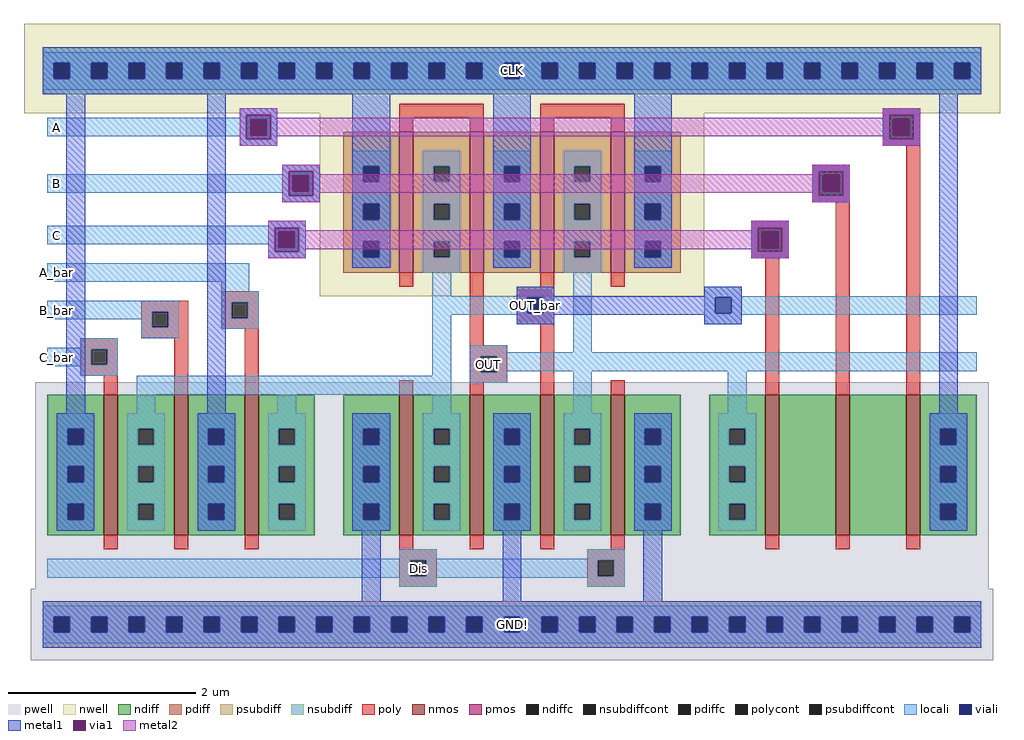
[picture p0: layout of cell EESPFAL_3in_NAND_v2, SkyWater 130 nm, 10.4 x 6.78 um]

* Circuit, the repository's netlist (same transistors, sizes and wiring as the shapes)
* NGSPICE file created from EESPFAL_3in_NAND_v2.ext - technology: sky130A

.subckt EESPFAL_3in_NAND_v2 OUT A A_bar B B_bar C C_bar Dis OUT_bar GND CLK
X0 OUT OUT_bar CLK CLK sky130_fd_pr__pfet_01v8 ad=9e+11p pd=4.2e+06u as=2.7e+12p ps=1.26e+07u w=1.5e+06u l=150000u M=2
X1 CLK OUT OUT_bar CLK sky130_fd_pr__pfet_01v8 ad=0p pd=0u as=9e+11p ps=4.2e+06u w=1.5e+06u l=150000u M=2
X2 a_n910_640# B a_n1060_640# GND sky130_fd_pr__nfet_01v8 ad=9e+11p pd=4.2e+06u as=9e+11p ps=4.2e+06u w=1.5e+06u l=150000u
X3 GND OUT OUT_bar GND sky130_fd_pr__nfet_01v8 ad=2.7e+12p pd=1.26e+07u as=2.7e+12p ps=1.26e+07u w=1.5e+06u l=150000u
X4 CLK B_bar OUT_bar GND sky130_fd_pr__nfet_01v8 ad=7.7e+12p pd=3.36e+07u as=0p ps=0u w=1.5e+06u l=150000u
X5 CLK A a_n910_640# GND sky130_fd_pr__nfet_01v8 ad=0p pd=0u as=0p ps=0u w=1.5e+06u l=150000u
X6 OUT OUT_bar GND GND sky130_fd_pr__nfet_01v8 ad=1.8e+12p pd=8.4e+06u as=0p ps=0u w=1.5e+06u l=150000u
X7 a_n1060_640# C OUT GND sky130_fd_pr__nfet_01v8 ad=0p pd=0u as=0p ps=0u w=1.5e+06u l=150000u
X8 OUT_bar Dis GND GND sky130_fd_pr__nfet_01v8 ad=0p pd=0u as=0p ps=0u w=1.5e+06u l=150000u
X9 OUT_bar A_bar CLK GND sky130_fd_pr__nfet_01v8 ad=0p pd=0u as=0p ps=0u w=1.5e+06u l=150000u
X10 OUT_bar C_bar CLK GND sky130_fd_pr__nfet_01v8 ad=0p pd=0u as=0p ps=0u w=1.5e+06u l=150000u
X11 GND Dis OUT GND sky130_fd_pr__nfet_01v8 ad=0p pd=0u as=0p ps=0u w=1.5e+06u l=150000u
.ends

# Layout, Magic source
magic
tech sky130A
magscale 1 2
<< nwell >>
rect -2670 1540 -590 1730
rect -2040 1150 -1220 1540
<< pwell >>
rect -2646 526 -614 966
rect -2656 374 -604 526
<< nmos >>
rect -2500 640 -2470 940
rect -2350 640 -2320 940
rect -2200 640 -2170 940
rect -1870 640 -1840 940
rect -1720 640 -1690 940
rect -1570 640 -1540 940
rect -1420 640 -1390 940
rect -1090 640 -1060 940
rect -940 640 -910 940
rect -790 640 -760 940
<< pmos >>
rect -1870 1200 -1840 1500
rect -1720 1200 -1690 1500
rect -1570 1200 -1540 1500
rect -1420 1200 -1390 1500
<< ndiff >>
rect -2620 867 -2500 940
rect -2620 833 -2577 867
rect -2543 833 -2500 867
rect -2620 787 -2500 833
rect -2620 753 -2577 787
rect -2543 753 -2500 787
rect -2620 707 -2500 753
rect -2620 673 -2577 707
rect -2543 673 -2500 707
rect -2620 640 -2500 673
rect -2470 867 -2350 940
rect -2470 833 -2427 867
rect -2393 833 -2350 867
rect -2470 787 -2350 833
rect -2470 753 -2427 787
rect -2393 753 -2350 787
rect -2470 707 -2350 753
rect -2470 673 -2427 707
rect -2393 673 -2350 707
rect -2470 640 -2350 673
rect -2320 867 -2200 940
rect -2320 833 -2277 867
rect -2243 833 -2200 867
rect -2320 787 -2200 833
rect -2320 753 -2277 787
rect -2243 753 -2200 787
rect -2320 707 -2200 753
rect -2320 673 -2277 707
rect -2243 673 -2200 707
rect -2320 640 -2200 673
rect -2170 867 -2050 940
rect -2170 833 -2127 867
rect -2093 833 -2050 867
rect -2170 787 -2050 833
rect -2170 753 -2127 787
rect -2093 753 -2050 787
rect -2170 707 -2050 753
rect -2170 673 -2127 707
rect -2093 673 -2050 707
rect -2170 640 -2050 673
rect -1990 867 -1870 940
rect -1990 833 -1947 867
rect -1913 833 -1870 867
rect -1990 787 -1870 833
rect -1990 753 -1947 787
rect -1913 753 -1870 787
rect -1990 707 -1870 753
rect -1990 673 -1947 707
rect -1913 673 -1870 707
rect -1990 640 -1870 673
rect -1840 867 -1720 940
rect -1840 833 -1797 867
rect -1763 833 -1720 867
rect -1840 787 -1720 833
rect -1840 753 -1797 787
rect -1763 753 -1720 787
rect -1840 707 -1720 753
rect -1840 673 -1797 707
rect -1763 673 -1720 707
rect -1840 640 -1720 673
rect -1690 867 -1570 940
rect -1690 833 -1647 867
rect -1613 833 -1570 867
rect -1690 787 -1570 833
rect -1690 753 -1647 787
rect -1613 753 -1570 787
rect -1690 707 -1570 753
rect -1690 673 -1647 707
rect -1613 673 -1570 707
rect -1690 640 -1570 673
rect -1540 867 -1420 940
rect -1540 833 -1497 867
rect -1463 833 -1420 867
rect -1540 787 -1420 833
rect -1540 753 -1497 787
rect -1463 753 -1420 787
rect -1540 707 -1420 753
rect -1540 673 -1497 707
rect -1463 673 -1420 707
rect -1540 640 -1420 673
rect -1390 867 -1270 940
rect -1390 833 -1347 867
rect -1313 833 -1270 867
rect -1390 787 -1270 833
rect -1390 753 -1347 787
rect -1313 753 -1270 787
rect -1390 707 -1270 753
rect -1390 673 -1347 707
rect -1313 673 -1270 707
rect -1390 640 -1270 673
rect -1210 867 -1090 940
rect -1210 833 -1167 867
rect -1133 833 -1090 867
rect -1210 787 -1090 833
rect -1210 753 -1167 787
rect -1133 753 -1090 787
rect -1210 707 -1090 753
rect -1210 673 -1167 707
rect -1133 673 -1090 707
rect -1210 640 -1090 673
rect -1060 640 -940 940
rect -910 640 -790 940
rect -760 867 -640 940
rect -760 833 -717 867
rect -683 833 -640 867
rect -760 787 -640 833
rect -760 753 -717 787
rect -683 753 -640 787
rect -760 707 -640 753
rect -760 673 -717 707
rect -683 673 -640 707
rect -760 640 -640 673
<< pdiff >>
rect -1990 1427 -1870 1500
rect -1990 1393 -1947 1427
rect -1913 1393 -1870 1427
rect -1990 1347 -1870 1393
rect -1990 1313 -1947 1347
rect -1913 1313 -1870 1347
rect -1990 1267 -1870 1313
rect -1990 1233 -1947 1267
rect -1913 1233 -1870 1267
rect -1990 1200 -1870 1233
rect -1840 1427 -1720 1500
rect -1840 1393 -1797 1427
rect -1763 1393 -1720 1427
rect -1840 1347 -1720 1393
rect -1840 1313 -1797 1347
rect -1763 1313 -1720 1347
rect -1840 1267 -1720 1313
rect -1840 1233 -1797 1267
rect -1763 1233 -1720 1267
rect -1840 1200 -1720 1233
rect -1690 1427 -1570 1500
rect -1690 1393 -1647 1427
rect -1613 1393 -1570 1427
rect -1690 1347 -1570 1393
rect -1690 1313 -1647 1347
rect -1613 1313 -1570 1347
rect -1690 1267 -1570 1313
rect -1690 1233 -1647 1267
rect -1613 1233 -1570 1267
rect -1690 1200 -1570 1233
rect -1540 1427 -1420 1500
rect -1540 1393 -1497 1427
rect -1463 1393 -1420 1427
rect -1540 1347 -1420 1393
rect -1540 1313 -1497 1347
rect -1463 1313 -1420 1347
rect -1540 1267 -1420 1313
rect -1540 1233 -1497 1267
rect -1463 1233 -1420 1267
rect -1540 1200 -1420 1233
rect -1390 1427 -1270 1500
rect -1390 1393 -1347 1427
rect -1313 1393 -1270 1427
rect -1390 1347 -1270 1393
rect -1390 1313 -1347 1347
rect -1313 1313 -1270 1347
rect -1390 1267 -1270 1313
rect -1390 1233 -1347 1267
rect -1313 1233 -1270 1267
rect -1390 1200 -1270 1233
<< ndiffc >>
rect -2577 833 -2543 867
rect -2577 753 -2543 787
rect -2577 673 -2543 707
rect -2427 833 -2393 867
rect -2427 753 -2393 787
rect -2427 673 -2393 707
rect -2277 833 -2243 867
rect -2277 753 -2243 787
rect -2277 673 -2243 707
rect -2127 833 -2093 867
rect -2127 753 -2093 787
rect -2127 673 -2093 707
rect -1947 833 -1913 867
rect -1947 753 -1913 787
rect -1947 673 -1913 707
rect -1797 833 -1763 867
rect -1797 753 -1763 787
rect -1797 673 -1763 707
rect -1647 833 -1613 867
rect -1647 753 -1613 787
rect -1647 673 -1613 707
rect -1497 833 -1463 867
rect -1497 753 -1463 787
rect -1497 673 -1463 707
rect -1347 833 -1313 867
rect -1347 753 -1313 787
rect -1347 673 -1313 707
rect -1167 833 -1133 867
rect -1167 753 -1133 787
rect -1167 673 -1133 707
rect -717 833 -683 867
rect -717 753 -683 787
rect -717 673 -683 707
<< pdiffc >>
rect -1947 1393 -1913 1427
rect -1947 1313 -1913 1347
rect -1947 1233 -1913 1267
rect -1797 1393 -1763 1427
rect -1797 1313 -1763 1347
rect -1797 1233 -1763 1267
rect -1647 1393 -1613 1427
rect -1647 1313 -1613 1347
rect -1647 1233 -1613 1267
rect -1497 1393 -1463 1427
rect -1497 1313 -1463 1347
rect -1497 1233 -1463 1267
rect -1347 1393 -1313 1427
rect -1347 1313 -1313 1347
rect -1347 1233 -1313 1267
<< psubdiff >>
rect -2630 467 -630 500
rect -2630 433 -2607 467
rect -2573 433 -2527 467
rect -2493 433 -2447 467
rect -2413 433 -2367 467
rect -2333 433 -2287 467
rect -2253 433 -2207 467
rect -2173 433 -2127 467
rect -2093 433 -2047 467
rect -2013 433 -1967 467
rect -1933 433 -1887 467
rect -1853 433 -1807 467
rect -1773 433 -1727 467
rect -1693 433 -1647 467
rect -1613 433 -1567 467
rect -1533 433 -1487 467
rect -1453 433 -1407 467
rect -1373 433 -1327 467
rect -1293 433 -1247 467
rect -1213 433 -1167 467
rect -1133 433 -1087 467
rect -1053 433 -1007 467
rect -973 433 -927 467
rect -893 433 -847 467
rect -813 433 -767 467
rect -733 433 -687 467
rect -653 433 -630 467
rect -2630 400 -630 433
<< nsubdiff >>
rect -2630 1647 -630 1680
rect -2630 1613 -2607 1647
rect -2573 1613 -2527 1647
rect -2493 1613 -2447 1647
rect -2413 1613 -2367 1647
rect -2333 1613 -2287 1647
rect -2253 1613 -2207 1647
rect -2173 1613 -2127 1647
rect -2093 1613 -2047 1647
rect -2013 1613 -1967 1647
rect -1933 1613 -1887 1647
rect -1853 1613 -1807 1647
rect -1773 1613 -1727 1647
rect -1693 1613 -1647 1647
rect -1613 1613 -1567 1647
rect -1533 1613 -1487 1647
rect -1453 1613 -1407 1647
rect -1373 1613 -1327 1647
rect -1293 1613 -1247 1647
rect -1213 1613 -1167 1647
rect -1133 1613 -1087 1647
rect -1053 1613 -1007 1647
rect -973 1613 -927 1647
rect -893 1613 -847 1647
rect -813 1613 -767 1647
rect -733 1613 -687 1647
rect -653 1613 -630 1647
rect -2630 1580 -630 1613
<< psubdiffcont >>
rect -2607 433 -2573 467
rect -2527 433 -2493 467
rect -2447 433 -2413 467
rect -2367 433 -2333 467
rect -2287 433 -2253 467
rect -2207 433 -2173 467
rect -2127 433 -2093 467
rect -2047 433 -2013 467
rect -1967 433 -1933 467
rect -1887 433 -1853 467
rect -1807 433 -1773 467
rect -1727 433 -1693 467
rect -1647 433 -1613 467
rect -1567 433 -1533 467
rect -1487 433 -1453 467
rect -1407 433 -1373 467
rect -1327 433 -1293 467
rect -1247 433 -1213 467
rect -1167 433 -1133 467
rect -1087 433 -1053 467
rect -1007 433 -973 467
rect -927 433 -893 467
rect -847 433 -813 467
rect -767 433 -733 467
rect -687 433 -653 467
<< nsubdiffcont >>
rect -2607 1613 -2573 1647
rect -2527 1613 -2493 1647
rect -2447 1613 -2413 1647
rect -2367 1613 -2333 1647
rect -2287 1613 -2253 1647
rect -2207 1613 -2173 1647
rect -2127 1613 -2093 1647
rect -2047 1613 -2013 1647
rect -1967 1613 -1933 1647
rect -1887 1613 -1853 1647
rect -1807 1613 -1773 1647
rect -1727 1613 -1693 1647
rect -1647 1613 -1613 1647
rect -1567 1613 -1533 1647
rect -1487 1613 -1453 1647
rect -1407 1613 -1373 1647
rect -1327 1613 -1293 1647
rect -1247 1613 -1213 1647
rect -1167 1613 -1133 1647
rect -1087 1613 -1053 1647
rect -1007 1613 -973 1647
rect -927 1613 -893 1647
rect -847 1613 -813 1647
rect -767 1613 -733 1647
rect -687 1613 -653 1647
<< poly >>
rect -1870 1530 -1690 1560
rect -1870 1500 -1840 1530
rect -1720 1500 -1690 1530
rect -1570 1530 -1390 1560
rect -1570 1500 -1540 1530
rect -1420 1500 -1390 1530
rect -840 1527 -760 1550
rect -840 1493 -817 1527
rect -783 1493 -760 1527
rect -840 1470 -760 1493
rect -990 1407 -910 1430
rect -990 1373 -967 1407
rect -933 1373 -910 1407
rect -990 1350 -910 1373
rect -1120 1287 -1040 1310
rect -1120 1253 -1097 1287
rect -1063 1253 -1040 1287
rect -1120 1230 -1040 1253
rect -1870 1170 -1840 1200
rect -2420 1117 -2320 1140
rect -2420 1083 -2397 1117
rect -2363 1083 -2320 1117
rect -2420 1060 -2320 1083
rect -2250 1137 -2170 1160
rect -2250 1103 -2227 1137
rect -2193 1103 -2170 1137
rect -2250 1080 -2170 1103
rect -2550 1037 -2470 1060
rect -2550 1003 -2527 1037
rect -2493 1003 -2470 1037
rect -2550 980 -2470 1003
rect -2500 940 -2470 980
rect -2350 940 -2320 1060
rect -2200 940 -2170 1080
rect -1720 1045 -1690 1200
rect -1570 1170 -1540 1200
rect -1420 1170 -1390 1200
rect -1620 1147 -1540 1170
rect -1620 1113 -1597 1147
rect -1563 1113 -1540 1147
rect -1620 1090 -1540 1113
rect -1720 1022 -1640 1045
rect -1720 988 -1697 1022
rect -1663 988 -1640 1022
rect -1870 940 -1840 970
rect -1720 965 -1640 988
rect -1720 940 -1690 965
rect -1570 940 -1540 1090
rect -1420 940 -1390 970
rect -1090 940 -1060 1230
rect -940 940 -910 1350
rect -790 940 -760 1470
rect -2500 610 -2470 640
rect -2350 610 -2320 640
rect -2200 610 -2170 640
rect -1870 610 -1840 640
rect -1720 610 -1690 640
rect -1570 610 -1540 640
rect -1420 610 -1390 640
rect -1090 610 -1060 640
rect -940 610 -910 640
rect -790 610 -760 640
rect -1870 587 -1790 610
rect -1870 553 -1847 587
rect -1813 553 -1790 587
rect -1870 530 -1790 553
rect -1470 587 -1390 610
rect -1470 553 -1447 587
rect -1413 553 -1390 587
rect -1470 530 -1390 553
<< polycont >>
rect -817 1493 -783 1527
rect -967 1373 -933 1407
rect -1097 1253 -1063 1287
rect -2397 1083 -2363 1117
rect -2227 1103 -2193 1137
rect -2527 1003 -2493 1037
rect -1597 1113 -1563 1147
rect -1697 988 -1663 1022
rect -1847 553 -1813 587
rect -1447 553 -1413 587
<< locali >>
rect -2630 1647 -630 1670
rect -2630 1613 -2607 1647
rect -2573 1613 -2527 1647
rect -2493 1613 -2447 1647
rect -2413 1613 -2367 1647
rect -2333 1613 -2287 1647
rect -2253 1613 -2207 1647
rect -2173 1613 -2127 1647
rect -2093 1613 -2047 1647
rect -2013 1613 -1967 1647
rect -1933 1613 -1887 1647
rect -1853 1613 -1807 1647
rect -1773 1613 -1727 1647
rect -1693 1613 -1647 1647
rect -1613 1613 -1567 1647
rect -1533 1613 -1487 1647
rect -1453 1613 -1407 1647
rect -1373 1613 -1327 1647
rect -1293 1613 -1247 1647
rect -1213 1613 -1167 1647
rect -1133 1613 -1087 1647
rect -1053 1613 -1007 1647
rect -973 1613 -927 1647
rect -893 1613 -847 1647
rect -813 1613 -767 1647
rect -733 1613 -687 1647
rect -653 1613 -630 1647
rect -2630 1590 -630 1613
rect -2210 1530 -2130 1550
rect -2620 1527 -2130 1530
rect -2620 1493 -2187 1527
rect -2153 1493 -2130 1527
rect -2620 1490 -2130 1493
rect -2210 1470 -2130 1490
rect -840 1527 -760 1550
rect -840 1493 -817 1527
rect -783 1493 -760 1527
rect -840 1470 -760 1493
rect -2120 1410 -2040 1430
rect -2620 1407 -2040 1410
rect -2620 1373 -2097 1407
rect -2063 1373 -2040 1407
rect -2620 1370 -2040 1373
rect -2120 1350 -2040 1370
rect -1970 1427 -1890 1460
rect -1970 1393 -1947 1427
rect -1913 1393 -1890 1427
rect -1970 1347 -1890 1393
rect -1970 1313 -1947 1347
rect -1913 1313 -1890 1347
rect -2150 1300 -2070 1310
rect -2620 1287 -2070 1300
rect -2620 1260 -2127 1287
rect -2150 1253 -2127 1260
rect -2093 1253 -2070 1287
rect -2150 1230 -2070 1253
rect -1970 1267 -1890 1313
rect -1970 1233 -1947 1267
rect -1913 1233 -1890 1267
rect -2620 1180 -2190 1220
rect -1970 1210 -1890 1233
rect -1820 1427 -1740 1460
rect -1820 1393 -1797 1427
rect -1763 1393 -1740 1427
rect -1820 1347 -1740 1393
rect -1820 1313 -1797 1347
rect -1763 1313 -1740 1347
rect -1820 1267 -1740 1313
rect -1820 1233 -1797 1267
rect -1763 1233 -1740 1267
rect -1820 1200 -1740 1233
rect -1670 1427 -1590 1460
rect -1670 1393 -1647 1427
rect -1613 1393 -1590 1427
rect -1670 1347 -1590 1393
rect -1670 1313 -1647 1347
rect -1613 1313 -1590 1347
rect -1670 1267 -1590 1313
rect -1670 1233 -1647 1267
rect -1613 1233 -1590 1267
rect -1670 1210 -1590 1233
rect -1520 1427 -1440 1460
rect -1520 1393 -1497 1427
rect -1463 1393 -1440 1427
rect -1520 1347 -1440 1393
rect -1520 1313 -1497 1347
rect -1463 1313 -1440 1347
rect -1520 1267 -1440 1313
rect -1520 1233 -1497 1267
rect -1463 1233 -1440 1267
rect -1520 1200 -1440 1233
rect -1370 1427 -1290 1460
rect -1370 1393 -1347 1427
rect -1313 1393 -1290 1427
rect -1370 1347 -1290 1393
rect -990 1407 -910 1430
rect -990 1373 -967 1407
rect -933 1373 -910 1407
rect -990 1350 -910 1373
rect -1370 1313 -1347 1347
rect -1313 1313 -1290 1347
rect -1370 1267 -1290 1313
rect -1370 1233 -1347 1267
rect -1313 1233 -1290 1267
rect -1370 1210 -1290 1233
rect -1120 1287 -1040 1310
rect -1120 1253 -1097 1287
rect -1063 1253 -1040 1287
rect -1120 1230 -1040 1253
rect -2250 1160 -2190 1180
rect -2620 1117 -2340 1140
rect -2620 1100 -2397 1117
rect -2420 1083 -2397 1100
rect -2363 1083 -2340 1117
rect -2420 1060 -2340 1083
rect -2250 1137 -2170 1160
rect -2250 1103 -2227 1137
rect -2193 1103 -2170 1137
rect -2250 1080 -2170 1103
rect -1800 1150 -1760 1200
rect -1620 1150 -1540 1170
rect -1800 1147 -1540 1150
rect -1800 1113 -1597 1147
rect -1563 1113 -1540 1147
rect -1800 1110 -1540 1113
rect -2550 1040 -2470 1060
rect -2620 1037 -2470 1040
rect -2620 1003 -2527 1037
rect -2493 1003 -2470 1037
rect -2620 1000 -2470 1003
rect -2550 980 -2470 1000
rect -1800 980 -1760 1110
rect -1620 1090 -1540 1110
rect -2430 940 -1760 980
rect -1720 1030 -1640 1045
rect -1500 1030 -1460 1200
rect -1220 1150 -1140 1170
rect -1220 1147 -640 1150
rect -1220 1113 -1197 1147
rect -1163 1113 -640 1147
rect -1220 1110 -640 1113
rect -1220 1090 -1140 1110
rect -1720 1022 -640 1030
rect -1720 988 -1697 1022
rect -1663 990 -640 1022
rect -1663 988 -1640 990
rect -1720 965 -1640 988
rect -2430 900 -2390 940
rect -2130 900 -2090 940
rect -1800 900 -1760 940
rect -1500 900 -1460 990
rect -1170 900 -1130 990
rect -2600 867 -2520 900
rect -2600 833 -2577 867
rect -2543 833 -2520 867
rect -2600 787 -2520 833
rect -2600 753 -2577 787
rect -2543 753 -2520 787
rect -2600 707 -2520 753
rect -2600 673 -2577 707
rect -2543 673 -2520 707
rect -2600 650 -2520 673
rect -2450 867 -2370 900
rect -2450 833 -2427 867
rect -2393 833 -2370 867
rect -2450 787 -2370 833
rect -2450 753 -2427 787
rect -2393 753 -2370 787
rect -2450 707 -2370 753
rect -2450 673 -2427 707
rect -2393 673 -2370 707
rect -2450 650 -2370 673
rect -2300 867 -2220 900
rect -2300 833 -2277 867
rect -2243 833 -2220 867
rect -2300 787 -2220 833
rect -2300 753 -2277 787
rect -2243 753 -2220 787
rect -2300 707 -2220 753
rect -2300 673 -2277 707
rect -2243 673 -2220 707
rect -2300 650 -2220 673
rect -2150 867 -2070 900
rect -2150 833 -2127 867
rect -2093 833 -2070 867
rect -2150 787 -2070 833
rect -2150 753 -2127 787
rect -2093 753 -2070 787
rect -2150 707 -2070 753
rect -2150 673 -2127 707
rect -2093 673 -2070 707
rect -2150 650 -2070 673
rect -1970 867 -1890 900
rect -1970 833 -1947 867
rect -1913 833 -1890 867
rect -1970 787 -1890 833
rect -1970 753 -1947 787
rect -1913 753 -1890 787
rect -1970 707 -1890 753
rect -1970 673 -1947 707
rect -1913 673 -1890 707
rect -1970 650 -1890 673
rect -1820 867 -1740 900
rect -1820 833 -1797 867
rect -1763 833 -1740 867
rect -1820 787 -1740 833
rect -1820 753 -1797 787
rect -1763 753 -1740 787
rect -1820 707 -1740 753
rect -1820 673 -1797 707
rect -1763 673 -1740 707
rect -1820 650 -1740 673
rect -1670 867 -1590 900
rect -1670 833 -1647 867
rect -1613 833 -1590 867
rect -1670 787 -1590 833
rect -1670 753 -1647 787
rect -1613 753 -1590 787
rect -1670 707 -1590 753
rect -1670 673 -1647 707
rect -1613 673 -1590 707
rect -1670 650 -1590 673
rect -1520 867 -1440 900
rect -1520 833 -1497 867
rect -1463 833 -1440 867
rect -1520 787 -1440 833
rect -1520 753 -1497 787
rect -1463 753 -1440 787
rect -1520 707 -1440 753
rect -1520 673 -1497 707
rect -1463 673 -1440 707
rect -1520 650 -1440 673
rect -1370 867 -1290 900
rect -1370 833 -1347 867
rect -1313 833 -1290 867
rect -1370 787 -1290 833
rect -1370 753 -1347 787
rect -1313 753 -1290 787
rect -1370 707 -1290 753
rect -1370 673 -1347 707
rect -1313 673 -1290 707
rect -1370 650 -1290 673
rect -1190 867 -1110 900
rect -1190 833 -1167 867
rect -1133 833 -1110 867
rect -1190 787 -1110 833
rect -1190 753 -1167 787
rect -1133 753 -1110 787
rect -1190 707 -1110 753
rect -1190 673 -1167 707
rect -1133 673 -1110 707
rect -1190 650 -1110 673
rect -740 867 -660 900
rect -740 833 -717 867
rect -683 833 -660 867
rect -740 787 -660 833
rect -740 753 -717 787
rect -683 753 -660 787
rect -740 707 -660 753
rect -740 673 -717 707
rect -683 673 -660 707
rect -740 650 -660 673
rect -1870 590 -1790 610
rect -1470 590 -1390 610
rect -2620 587 -1390 590
rect -2620 553 -1847 587
rect -1813 553 -1447 587
rect -1413 553 -1390 587
rect -2620 550 -1390 553
rect -1870 530 -1790 550
rect -1470 530 -1390 550
rect -2630 467 -630 490
rect -2630 433 -2607 467
rect -2573 433 -2527 467
rect -2493 433 -2447 467
rect -2413 433 -2367 467
rect -2333 433 -2287 467
rect -2253 433 -2207 467
rect -2173 433 -2127 467
rect -2093 433 -2047 467
rect -2013 433 -1967 467
rect -1933 433 -1887 467
rect -1853 433 -1807 467
rect -1773 433 -1727 467
rect -1693 433 -1647 467
rect -1613 433 -1567 467
rect -1533 433 -1487 467
rect -1453 433 -1407 467
rect -1373 433 -1327 467
rect -1293 433 -1247 467
rect -1213 433 -1167 467
rect -1133 433 -1087 467
rect -1053 433 -1007 467
rect -973 433 -927 467
rect -893 433 -847 467
rect -813 433 -767 467
rect -733 433 -687 467
rect -653 433 -630 467
rect -2630 410 -630 433
<< viali >>
rect -2607 1613 -2573 1647
rect -2527 1613 -2493 1647
rect -2447 1613 -2413 1647
rect -2367 1613 -2333 1647
rect -2287 1613 -2253 1647
rect -2207 1613 -2173 1647
rect -2127 1613 -2093 1647
rect -2047 1613 -2013 1647
rect -1967 1613 -1933 1647
rect -1887 1613 -1853 1647
rect -1807 1613 -1773 1647
rect -1727 1613 -1693 1647
rect -1647 1613 -1613 1647
rect -1567 1613 -1533 1647
rect -1487 1613 -1453 1647
rect -1407 1613 -1373 1647
rect -1327 1613 -1293 1647
rect -1247 1613 -1213 1647
rect -1167 1613 -1133 1647
rect -1087 1613 -1053 1647
rect -1007 1613 -973 1647
rect -927 1613 -893 1647
rect -847 1613 -813 1647
rect -767 1613 -733 1647
rect -687 1613 -653 1647
rect -2187 1493 -2153 1527
rect -817 1493 -783 1527
rect -2097 1373 -2063 1407
rect -1947 1393 -1913 1427
rect -1947 1313 -1913 1347
rect -2127 1253 -2093 1287
rect -1947 1233 -1913 1267
rect -1647 1393 -1613 1427
rect -1647 1313 -1613 1347
rect -1647 1233 -1613 1267
rect -1347 1393 -1313 1427
rect -967 1373 -933 1407
rect -1347 1313 -1313 1347
rect -1347 1233 -1313 1267
rect -1097 1253 -1063 1287
rect -1597 1113 -1563 1147
rect -1197 1113 -1163 1147
rect -2577 833 -2543 867
rect -2577 753 -2543 787
rect -2577 673 -2543 707
rect -2277 833 -2243 867
rect -2277 753 -2243 787
rect -2277 673 -2243 707
rect -1947 833 -1913 867
rect -1947 753 -1913 787
rect -1947 673 -1913 707
rect -1647 833 -1613 867
rect -1647 753 -1613 787
rect -1647 673 -1613 707
rect -1347 833 -1313 867
rect -1347 753 -1313 787
rect -1347 673 -1313 707
rect -717 833 -683 867
rect -717 753 -683 787
rect -717 673 -683 707
rect -2607 433 -2573 467
rect -2527 433 -2493 467
rect -2447 433 -2413 467
rect -2367 433 -2333 467
rect -2287 433 -2253 467
rect -2207 433 -2173 467
rect -2127 433 -2093 467
rect -2047 433 -2013 467
rect -1967 433 -1933 467
rect -1887 433 -1853 467
rect -1807 433 -1773 467
rect -1727 433 -1693 467
rect -1647 433 -1613 467
rect -1567 433 -1533 467
rect -1487 433 -1453 467
rect -1407 433 -1373 467
rect -1327 433 -1293 467
rect -1247 433 -1213 467
rect -1167 433 -1133 467
rect -1087 433 -1053 467
rect -1007 433 -973 467
rect -927 433 -893 467
rect -847 433 -813 467
rect -767 433 -733 467
rect -687 433 -653 467
<< metal1 >>
rect -2630 1647 -630 1680
rect -2630 1613 -2607 1647
rect -2573 1613 -2527 1647
rect -2493 1613 -2447 1647
rect -2413 1613 -2367 1647
rect -2333 1613 -2287 1647
rect -2253 1613 -2207 1647
rect -2173 1613 -2127 1647
rect -2093 1613 -2047 1647
rect -2013 1613 -1967 1647
rect -1933 1613 -1887 1647
rect -1853 1613 -1807 1647
rect -1773 1613 -1727 1647
rect -1693 1613 -1647 1647
rect -1613 1613 -1567 1647
rect -1533 1613 -1487 1647
rect -1453 1613 -1407 1647
rect -1373 1613 -1327 1647
rect -1293 1613 -1247 1647
rect -1213 1613 -1167 1647
rect -1133 1613 -1087 1647
rect -1053 1613 -1007 1647
rect -973 1613 -927 1647
rect -893 1613 -847 1647
rect -813 1613 -767 1647
rect -733 1613 -687 1647
rect -653 1613 -630 1647
rect -2630 1580 -630 1613
rect -2580 900 -2540 1580
rect -2280 900 -2240 1580
rect -2210 1536 -2130 1550
rect -2210 1484 -2196 1536
rect -2144 1484 -2130 1536
rect -2210 1470 -2130 1484
rect -2120 1416 -2040 1430
rect -2120 1364 -2106 1416
rect -2054 1364 -2040 1416
rect -2120 1350 -2040 1364
rect -1970 1427 -1890 1580
rect -1970 1393 -1947 1427
rect -1913 1393 -1890 1427
rect -1970 1347 -1890 1393
rect -1970 1313 -1947 1347
rect -1913 1313 -1890 1347
rect -2150 1296 -2070 1310
rect -2150 1244 -2136 1296
rect -2084 1244 -2070 1296
rect -2150 1230 -2070 1244
rect -1970 1267 -1890 1313
rect -1970 1233 -1947 1267
rect -1913 1233 -1890 1267
rect -1970 1210 -1890 1233
rect -1670 1427 -1590 1580
rect -1670 1393 -1647 1427
rect -1613 1393 -1590 1427
rect -1670 1347 -1590 1393
rect -1670 1313 -1647 1347
rect -1613 1313 -1590 1347
rect -1670 1267 -1590 1313
rect -1670 1233 -1647 1267
rect -1613 1233 -1590 1267
rect -1670 1210 -1590 1233
rect -1370 1427 -1290 1580
rect -840 1536 -760 1550
rect -840 1484 -826 1536
rect -774 1484 -760 1536
rect -840 1470 -760 1484
rect -1370 1393 -1347 1427
rect -1313 1393 -1290 1427
rect -1370 1347 -1290 1393
rect -990 1416 -910 1430
rect -990 1364 -976 1416
rect -924 1364 -910 1416
rect -990 1350 -910 1364
rect -1370 1313 -1347 1347
rect -1313 1313 -1290 1347
rect -1370 1267 -1290 1313
rect -1370 1233 -1347 1267
rect -1313 1233 -1290 1267
rect -1370 1210 -1290 1233
rect -1120 1296 -1040 1310
rect -1120 1244 -1106 1296
rect -1054 1244 -1040 1296
rect -1120 1230 -1040 1244
rect -1620 1150 -1540 1170
rect -1220 1150 -1140 1170
rect -1620 1147 -1140 1150
rect -1620 1113 -1597 1147
rect -1563 1113 -1197 1147
rect -1163 1113 -1140 1147
rect -1620 1110 -1140 1113
rect -1620 1090 -1540 1110
rect -1220 1090 -1140 1110
rect -720 900 -680 1580
rect -2600 867 -2520 900
rect -2600 833 -2577 867
rect -2543 833 -2520 867
rect -2600 787 -2520 833
rect -2600 753 -2577 787
rect -2543 753 -2520 787
rect -2600 707 -2520 753
rect -2600 673 -2577 707
rect -2543 673 -2520 707
rect -2600 650 -2520 673
rect -2300 867 -2220 900
rect -2300 833 -2277 867
rect -2243 833 -2220 867
rect -2300 787 -2220 833
rect -2300 753 -2277 787
rect -2243 753 -2220 787
rect -2300 707 -2220 753
rect -2300 673 -2277 707
rect -2243 673 -2220 707
rect -2300 650 -2220 673
rect -1970 867 -1890 900
rect -1970 833 -1947 867
rect -1913 833 -1890 867
rect -1970 787 -1890 833
rect -1970 753 -1947 787
rect -1913 753 -1890 787
rect -1970 707 -1890 753
rect -1970 673 -1947 707
rect -1913 673 -1890 707
rect -1970 650 -1890 673
rect -1670 867 -1590 900
rect -1670 833 -1647 867
rect -1613 833 -1590 867
rect -1670 787 -1590 833
rect -1670 753 -1647 787
rect -1613 753 -1590 787
rect -1670 707 -1590 753
rect -1670 673 -1647 707
rect -1613 673 -1590 707
rect -1670 650 -1590 673
rect -1370 867 -1290 900
rect -1370 833 -1347 867
rect -1313 833 -1290 867
rect -1370 787 -1290 833
rect -1370 753 -1347 787
rect -1313 753 -1290 787
rect -1370 707 -1290 753
rect -1370 673 -1347 707
rect -1313 673 -1290 707
rect -1370 650 -1290 673
rect -740 867 -660 900
rect -740 833 -717 867
rect -683 833 -660 867
rect -740 787 -660 833
rect -740 753 -717 787
rect -683 753 -660 787
rect -740 707 -660 753
rect -740 673 -717 707
rect -683 673 -660 707
rect -740 650 -660 673
rect -1950 500 -1910 650
rect -1650 500 -1610 650
rect -1350 500 -1310 650
rect -2630 467 -630 500
rect -2630 433 -2607 467
rect -2573 433 -2527 467
rect -2493 433 -2447 467
rect -2413 433 -2367 467
rect -2333 433 -2287 467
rect -2253 433 -2207 467
rect -2173 433 -2127 467
rect -2093 433 -2047 467
rect -2013 433 -1967 467
rect -1933 433 -1887 467
rect -1853 433 -1807 467
rect -1773 433 -1727 467
rect -1693 433 -1647 467
rect -1613 433 -1567 467
rect -1533 433 -1487 467
rect -1453 433 -1407 467
rect -1373 433 -1327 467
rect -1293 433 -1247 467
rect -1213 433 -1167 467
rect -1133 433 -1087 467
rect -1053 433 -1007 467
rect -973 433 -927 467
rect -893 433 -847 467
rect -813 433 -767 467
rect -733 433 -687 467
rect -653 433 -630 467
rect -2630 400 -630 433
<< via1 >>
rect -2196 1527 -2144 1536
rect -2196 1493 -2187 1527
rect -2187 1493 -2153 1527
rect -2153 1493 -2144 1527
rect -2196 1484 -2144 1493
rect -2106 1407 -2054 1416
rect -2106 1373 -2097 1407
rect -2097 1373 -2063 1407
rect -2063 1373 -2054 1407
rect -2106 1364 -2054 1373
rect -2136 1287 -2084 1296
rect -2136 1253 -2127 1287
rect -2127 1253 -2093 1287
rect -2093 1253 -2084 1287
rect -2136 1244 -2084 1253
rect -826 1527 -774 1536
rect -826 1493 -817 1527
rect -817 1493 -783 1527
rect -783 1493 -774 1527
rect -826 1484 -774 1493
rect -976 1407 -924 1416
rect -976 1373 -967 1407
rect -967 1373 -933 1407
rect -933 1373 -924 1407
rect -976 1364 -924 1373
rect -1106 1287 -1054 1296
rect -1106 1253 -1097 1287
rect -1097 1253 -1063 1287
rect -1063 1253 -1054 1287
rect -1106 1244 -1054 1253
<< metal2 >>
rect -2210 1536 -2130 1550
rect -2210 1484 -2196 1536
rect -2144 1530 -2130 1536
rect -840 1536 -760 1550
rect -840 1530 -826 1536
rect -2144 1490 -826 1530
rect -2144 1484 -2130 1490
rect -2210 1470 -2130 1484
rect -840 1484 -826 1490
rect -774 1484 -760 1536
rect -840 1470 -760 1484
rect -2120 1416 -2040 1430
rect -2120 1364 -2106 1416
rect -2054 1410 -2040 1416
rect -990 1416 -910 1430
rect -990 1410 -976 1416
rect -2054 1370 -976 1410
rect -2054 1364 -2040 1370
rect -2120 1350 -2040 1364
rect -990 1364 -976 1370
rect -924 1364 -910 1416
rect -990 1350 -910 1364
rect -2150 1296 -2070 1310
rect -2150 1244 -2136 1296
rect -2084 1290 -2070 1296
rect -1120 1296 -1040 1310
rect -1120 1290 -1106 1296
rect -2084 1250 -1106 1290
rect -2084 1244 -2070 1250
rect -2150 1230 -2070 1244
rect -1120 1244 -1106 1250
rect -1054 1244 -1040 1296
rect -1120 1230 -1040 1244
<< labels >>
rlabel metal1 s -1600 1110 -1560 1150 4 OUT_bar
port 1 nsew
rlabel metal1 s -1650 430 -1610 470 4 GND!
port 2 nsew
rlabel metal1 s -1650 1610 -1610 1650 4 CLK
port 3 nsew
rlabel locali s -1700 985 -1660 1025 4 OUT
port 4 nsew
rlabel locali s -2610 1500 -2590 1520 4 A
port 5 nsew
rlabel locali s -2610 1190 -2590 1210 4 A_bar
port 6 nsew
rlabel locali s -2610 1380 -2590 1400 4 B
port 7 nsew
rlabel locali s -2610 1110 -2590 1130 4 B_bar
port 8 nsew
rlabel locali s -2610 1270 -2590 1290 4 C
port 9 nsew
rlabel locali s -2610 1010 -2590 1030 4 C_bar
port 10 nsew
rlabel locali s -1850 550 -1810 590 4 Dis
port 11 nsew
<< end >>
